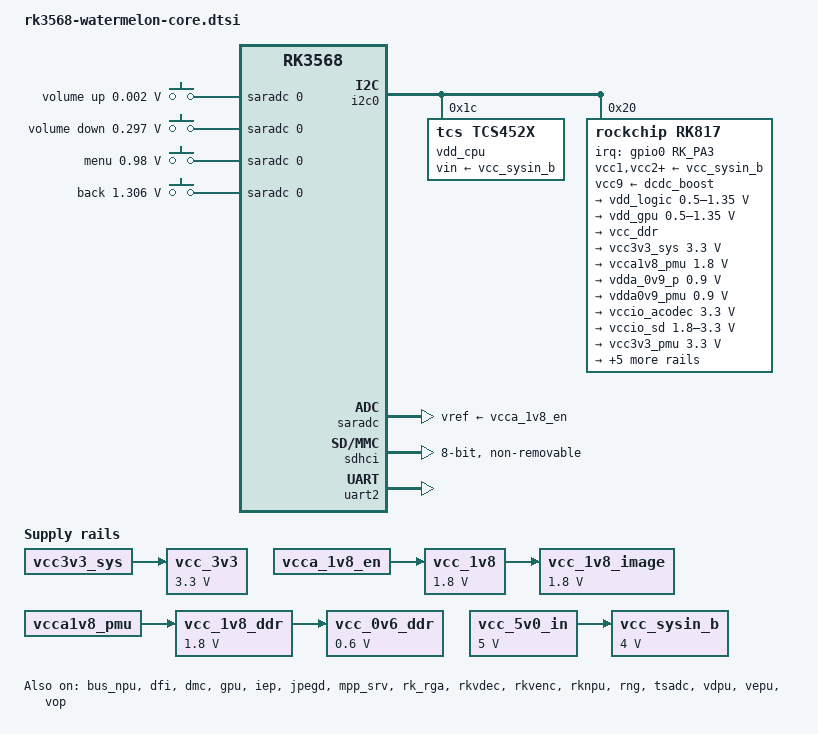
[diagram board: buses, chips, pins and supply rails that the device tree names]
// SPDX-License-Identifier: (GPL-2.0+ OR MIT)
// Copyright (c) 2023 unifreq <https://github.com/unifreq>

#include <dt-bindings/gpio/gpio.h>
#include <dt-bindings/pinctrl/rockchip.h>
#include <dt-bindings/pwm/pwm.h>
#include <dt-bindings/input/rk-input.h>
#include <dt-bindings/display/drm_mipi_dsi.h>
#include <dt-bindings/display/rockchip_vop.h>
#include <dt-bindings/sensor-dev.h>
#include "rk3568.dtsi"

/ {
	aliases {
		mmc0 = &sdmmc0;
		mmc1 = &sdhci;
	};

	chosen: chosen {
		bootargs = "earlycon=uart8250,mmio32,0xfe660000 console=ttyS2,1500000";
	};

	fiq_debugger: fiq-debugger {
		compatible = "rockchip,fiq-debugger";
		rockchip,serial-id = <2>;
		rockchip,wake-irq = <0>;
		/* If enable uart uses irq instead of fiq */
		rockchip,irq-mode-enable = <1>;
		rockchip,baudrate = <1500000>;  /* Only 115200 and 1500000 */
		interrupts = <GIC_SPI 252 IRQ_TYPE_LEVEL_LOW>;
		pinctrl-names = "default";
		pinctrl-0 = <&uart2m0_xfer>;
		status = "disabled";
	};

	debug: debug@fd904000 {
		compatible = "rockchip,debug";
		reg = <0x0 0xfd904000 0x0 0x1000>,
			<0x0 0xfd905000 0x0 0x1000>,
			<0x0 0xfd906000 0x0 0x1000>,
			<0x0 0xfd907000 0x0 0x1000>;
	};

	cspmu: cspmu@fd90c000 {
		compatible = "rockchip,cspmu";
		reg = <0x0 0xfd90c000 0x0 0x1000>,
			<0x0 0xfd90d000 0x0 0x1000>,
			<0x0 0xfd90e000 0x0 0x1000>,
			<0x0 0xfd90f000 0x0 0x1000>;
	};

	reserved_memory: reserved-memory {
		#address-cells = <2>;
		#size-cells = <2>;
		ranges;

		cma: cma {
			compatible = "shared-dma-pool";
			reusable;
			size = <0x0 0x10000000>;
			linux,cma-default;
		};
		
		drm_logo: drm-logo@00000000 {
			compatible = "rockchip,drm-logo";
			reg = <0x0 0x0 0x0 0x0>;
		};

		drm_cubic_lut: drm-cubic-lut@00000000 {
			compatible = "rockchip,drm-cubic-lut";
			reg = <0x0 0x0 0x0 0x0>;
		};

		ramoops: ramoops@110000 {
			compatible = "ramoops";
			reg = <0x0 0x110000 0x0 0xf0000>;
			record-size = <0x20000>;
			console-size = <0x80000>;
			ftrace-size = <0x00000>;
			pmsg-size = <0x50000>;
		};

		rknpu_reserved: rknpu {
			compatible = "shared-dma-pool";
			inactive;
			reusable;
			size = <0x0 0x10000000>;
			alignment = <0x0 0x1000>;
		};
	};

	adc_keys: adc-keys {
		compatible = "adc-keys";
		io-channels = <&saradc 0>;
		io-channel-names = "buttons";
		keyup-threshold-microvolt = <1800000>;
		poll-interval = <100>;

		vol-up-key {
			label = "volume up";
			linux,code = <KEY_VOLUMEUP>;
			press-threshold-microvolt = <1750>;
		};

		vol-down-key {
			label = "volume down";
			linux,code = <KEY_VOLUMEDOWN>;
			press-threshold-microvolt = <297500>;
		};

		menu-key {
			label = "menu";
			linux,code = <KEY_MENU>;
			press-threshold-microvolt = <980000>;
		};

		back-key {
			label = "back";
			linux,code = <KEY_BACK>;
			press-threshold-microvolt = <1305500>;
		};
	};

	vcc_5v0_in: vcc-5v0-in {
		compatible = "regulator-fixed";
		regulator-min-microvolt = <5000000>;
		regulator-max-microvolt = <5000000>;
		regulator-always-on;
		regulator-boot-on;
		regulator-name = "vcc_5v0_in";
	};

	vcc_sysin_b: vcc-sysin-b {
		compatible = "regulator-fixed";
		regulator-name = "vcc_sysin_b";
		regulator-always-on;
		regulator-boot-on;
		regulator-min-microvolt = <4000000>;
		regulator-max-microvolt = <4000000>;
		vin-supply = <&vcc_5v0_in>;
	};

	/* Enabled when PMIC_SLEEP_H down */
	vcc_3v3: vcc-3v3 {
		compatible = "regulator-fixed";
		regulator-name = "vcc_3v3";
		regulator-always-on;
		regulator-boot-on;
		regulator-min-microvolt = <3300000>;
		regulator-max-microvolt = <3300000>;
		vin-supply = <&vcc3v3_sys>;
	};

	/* Enabled when vcca_1v8_en up */
	vcc_1v8: vcc-1v8 {
		compatible = "regulator-fixed";
		regulator-name = "vcc_1v8";
		regulator-always-on;
		regulator-boot-on;
		regulator-min-microvolt = <1800000>;
		regulator-max-microvolt = <1800000>;
		vin-supply = <&vcca_1v8_en>;
	};

	vcc_1v8_image: vcc-1v8-image {
		compatible = "regulator-fixed";
		regulator-name = "vcc_1v8_image";
		regulator-always-on;
		regulator-boot-on;
		regulator-min-microvolt = <1800000>;
		regulator-max-microvolt = <1800000>;
		vin-supply = <&vcc_1v8>;
	};

	vcc_1v8_ddr: vcc-1v8-ddr {
		compatible = "regulator-fixed";
		regulator-name = "vcc_1v8_ddr";
		regulator-always-on;
		regulator-boot-on;
		regulator-min-microvolt = <1800000>;
		regulator-max-microvolt = <1800000>;
		vin-supply = <&vcca1v8_pmu>;
	};

	vcc_0v6_ddr: vcc_0v6_ddr {
		compatible = "regulator-fixed";
		regulator-name = "vcc_0v6_ddr";
		regulator-always-on;
		regulator-boot-on;
		regulator-min-microvolt = <600000>;
		regulator-max-microvolt = <600000>;
		vin-supply = <&vcc_1v8_ddr>;
	};
};

&bus_npu {
	bus-supply = <&vdd_logic>;
	pvtm-supply = <&vdd_cpu>;
	status = "okay";
};

&cpu0 {
	cpu-supply = <&vdd_cpu>;
};

&dfi {
	status = "okay";
};

&dmc {
	center-supply = <&vdd_logic>;
	status = "okay";
};

&gpu {
	mali-supply = <&vdd_gpu>;
	status = "okay";
};

&i2c0 {
	status = "okay";

	vdd_cpu: tcs4525@1c {
		compatible = "tcs,tcs452x";
		reg = <0x1c>;
		vin-supply = <&vcc_sysin_b>;
		regulator-compatible = "fan53555-reg";
		regulator-name = "vdd_cpu";
		regulator-min-microvolt = <712500>;
		regulator-max-microvolt = <1390000>;
		regulator-init-microvolt = <900000>;
		regulator-initial-mode = <1>;
		regulator-ramp-delay = <2300>;
		fcs,suspend-voltage-selector = <1>;
		regulator-boot-on;
		regulator-always-on;

		regulator-state-mem {
			regulator-off-in-suspend;
		};
	};

	rk817: pmic@20 {
		compatible = "rockchip,rk817";
		reg = <0x20>;
		interrupt-parent = <&gpio0>;
		interrupts = <RK_PA3 IRQ_TYPE_LEVEL_LOW>;

		pinctrl-names = "default", "pmic-sleep",
				"pmic-power-off", "pmic-reset";
		pinctrl-0 = <&pmic_int>;
		pinctrl-1 = <&soc_slppin_slp>, <&rk817_slppin_slp>;
		pinctrl-2 = <&soc_slppin_gpio>, <&rk817_slppin_pwrdn>;
		pinctrl-3 = <&soc_slppin_gpio>, <&rk817_slppin_rst>;
		rockchip,system-power-controller;
		wakeup-source;
		#clock-cells = <1>;
		clock-output-names = "rk808-clkout1", "rk808-clkout2";
		//fb-inner-reg-idxs = <2>;
		/* 1: rst regs (default in codes), 0: rst the pmic */
		pmic-reset-func = <0>;

		vcc1-supply = <&vcc_sysin_b>;
		vcc2-supply = <&vcc_sysin_b>;
		vcc3-supply = <&vcc_sysin_b>;
		vcc4-supply = <&vcc_sysin_b>;
		vcc5-supply = <&vcc_sysin_b>;
		vcc6-supply = <&vcc_sysin_b>;
		vcc7-supply = <&vcc_sysin_b>;
		vcc8-supply = <&vcc_sysin_b>;
		vcc9-supply = <&dcdc_boost>;

		pwrkey {
			status = "okay";
		};

		pinctrl_rk8xx: pinctrl_rk8xx {
			gpio-controller;
			#gpio-cells = <2>;

			rk817_slppin_null: rk817_slppin_null {
				pins = "gpio_slp";
				function = "pin_fun0";
			};

			rk817_slppin_slp: rk817_slppin_slp {
				pins = "gpio_slp";
				function = "pin_fun1";
			};

			rk817_slppin_pwrdn: rk817_slppin_pwrdn {
				pins = "gpio_slp";
				function = "pin_fun2";
			};

			rk817_slppin_rst: rk817_slppin_rst {
				pins = "gpio_slp";
				function = "pin_fun3";
			};
		};

		regulators {
			vdd_logic: DCDC_REG1 {
				regulator-always-on;
				regulator-boot-on;
				regulator-min-microvolt = <500000>;
				regulator-max-microvolt = <1350000>;
				regulator-init-microvolt = <900000>;
				regulator-ramp-delay = <6001>;
				regulator-initial-mode = <0x2>;
				regulator-name = "vdd_logic";
				regulator-state-mem {
					regulator-off-in-suspend;
				};
			};

			vdd_gpu: DCDC_REG2 {
				regulator-always-on;
				regulator-boot-on;
				regulator-min-microvolt = <500000>;
				regulator-max-microvolt = <1350000>;
				regulator-init-microvolt = <900000>;
				regulator-ramp-delay = <6001>;
				regulator-initial-mode = <0x2>;
				regulator-name = "vdd_gpu";
				regulator-state-mem {
					regulator-off-in-suspend;
				};
			};

			vcc_ddr: DCDC_REG3 {
				regulator-always-on;
				regulator-boot-on;
				regulator-initial-mode = <0x2>;
				regulator-name = "vcc_ddr";
				regulator-state-mem {
					regulator-on-in-suspend;
				};
			};

			vcc3v3_sys: DCDC_REG4 {
				regulator-always-on;
				regulator-boot-on;
				regulator-min-microvolt = <3300000>;
				regulator-max-microvolt = <3300000>;
				regulator-initial-mode = <0x2>;
				regulator-name = "vcc3v3_sys";
				regulator-state-mem {
					regulator-off-in-suspend;
				};
			};

			vcca1v8_pmu: LDO_REG1 {
				regulator-always-on;
				regulator-boot-on;
				regulator-min-microvolt = <1800000>;
				regulator-max-microvolt = <1800000>;
				regulator-name = "vcca1v8_pmu";
				regulator-state-mem {
					regulator-on-in-suspend;
					regulator-suspend-microvolt = <1800000>;
				};
			};

			vdda_0v9_p: LDO_REG2 {
				regulator-always-on;
				regulator-boot-on;
				regulator-min-microvolt = <900000>;
				regulator-max-microvolt = <900000>;
				regulator-name = "vdda_0v9_p";

				regulator-state-mem {
					regulator-off-in-suspend;
				};
			};

			vdda0v9_pmu: LDO_REG3 {
				regulator-always-on;
				regulator-boot-on;
				regulator-min-microvolt = <900000>;
				regulator-max-microvolt = <900000>;
				regulator-name = "vdda0v9_pmu";

				regulator-state-mem {
					regulator-on-in-suspend;
					regulator-suspend-microvolt = <900000>;
				};
			};

			vccio_acodec: LDO_REG4 {
				regulator-always-on;
				regulator-min-microvolt = <3300000>;
				regulator-max-microvolt = <3300000>;
				regulator-name = "vccio_acodec";

				regulator-state-mem {
					regulator-off-in-suspend;
				};
			};

			vccio_sd: LDO_REG5 {
				regulator-min-microvolt = <1800000>;
				regulator-max-microvolt = <3300000>;
				regulator-name = "vccio_sd";

				regulator-state-mem {
					regulator-off-in-suspend;
				};
			};

			vcc3v3_pmu: LDO_REG6 {
				regulator-always-on;
				regulator-boot-on;
				regulator-min-microvolt = <3300000>;
				regulator-max-microvolt = <3300000>;
				regulator-name = "vcc3v3_pmu";

				regulator-state-mem {
					regulator-on-in-suspend;
					regulator-suspend-microvolt = <3300000>;
				};
			};

			vcca_1v8_en: LDO_REG7 {
				regulator-always-on;
				regulator-boot-on;
				regulator-min-microvolt = <1800000>;
				regulator-max-microvolt = <1800000>;
				regulator-name = "vcca_1v8_en";

				regulator-state-mem {
					regulator-off-in-suspend;
				};
			};

			vdda0v9_image_p: LDO_REG8 {
				regulator-boot-on;
				regulator-always-on;
				regulator-min-microvolt = <900000>;
				regulator-max-microvolt = <900000>;
				regulator-name = "vdda0v9_image_p";
				regulator-state-mem {
					regulator-off-in-suspend;
				};
			};

			vcca1v8_image_p: LDO_REG9 {
				regulator-always-on;
				regulator-boot-on;
				regulator-min-microvolt = <1800000>;
				regulator-max-microvolt = <1800000>;
				regulator-name = "vcca1v8_image_p";
				regulator-state-mem {
					regulator-off-in-suspend;
				};
			};

			dcdc_boost: BOOST {
				regulator-always-on;
				regulator-boot-on;
				regulator-min-microvolt = <4700000>;
				regulator-max-microvolt = <5400000>;
				regulator-name = "boost";
				regulator-state-mem {
					regulator-off-in-suspend;
				};
			};

			otg_switch: OTG_SWITCH {
				regulator-name = "otg_switch";
				regulator-state-mem {
					regulator-off-in-suspend;
				};
			};
		};

		rk817_battery: battery {
			compatible = "rk817,battery";
			ocv_table = <3400 3671 3686 3712 3738 3756 3773
				     3787 3802 3819 3840 3868 3916 3959
				     3998 4041 4087 4138 4191 4247 4313>;
			design_capacity = <5780>;
			design_qmax = <6358>;
			bat_res = <100>;
			sleep_enter_current = <150>;
			sleep_exit_current = <180>;
			sleep_filter_current = <100>;
			power_off_thresd = <3400>;
			zero_algorithm_vol = <3950>;
			max_soc_offset = <60>;
			monitor_sec = <5>;
			sample_res = <10>;
			virtual_power = <0>;
			status = "disabled";
		};

		rk817_charger: charger {
			compatible = "rk817,charger";
			min_input_voltage = <4500>;
			max_input_current = <1500>;
			max_chrg_current = <2000>;
			max_chrg_voltage = <4350>;
			chrg_term_mode = <0>;
			chrg_finish_cur = <300>;
			virtual_power = <0>;
			dc_det_adc = <0>;
			extcon = <&usb2phy0>;
			gate_function_disable = <1>;
			status = "disabled";
		};

		rk817_codec: codec {
			#sound-dai-cells = <1>;
			compatible = "rockchip,rk809-codec", "rockchip,rk817-codec";
			clocks = <&cru I2S1_MCLKOUT>;
			clock-names = "mclk";
			assigned-clocks = <&cru I2S1_MCLKOUT>, <&cru I2S1_MCLK_TX_IOE>;
			assigned-clock-rates = <12288000>;
			assigned-clock-parents = <&cru I2S1_MCLKOUT_TX>, <&cru I2S1_MCLKOUT_TX>;
			pinctrl-names = "default";
			pinctrl-0 = <&i2s1m0_mclk>;
			hp-volume = <20>;
			spk-volume = <3>;
			mic-in-differential;
			status = "okay";
		};
	};
};

&iep {
	status = "okay";
};

&iep_mmu {
	status = "okay";
};

&jpegd {
	status = "okay";
};

&jpegd_mmu {
	status = "okay";
};

&mpp_srv {
	status = "okay";
};

&pinctrl {
	pmic {
		pmic_int: pmic_int {
			rockchip,pins = <0 RK_PA3 RK_FUNC_GPIO &pcfg_pull_up>;
		};

		soc_slppin_gpio: soc_slppin_gpio {
			rockchip,pins = <0 RK_PA2 RK_FUNC_GPIO &pcfg_output_low>;
		};

		soc_slppin_rst: soc_slppin_rst {
			rockchip,pins = <0 RK_PA2 2 &pcfg_pull_none>;
		};

		soc_slppin_slp: soc_slppin_slp {
			rockchip,pins = <0 RK_PA2 1 &pcfg_pull_none>;
		};
	};
};

&pmu_io_domains {
	//fixed, pmuio0-supply = <&vcca1v8_pmu>;
	pmuio1-supply = <&vcc3v3_pmu>;
	pmuio2-supply = <&vcc3v3_pmu>;
	vccio1-supply = <&vccio_acodec>;
	//configure by hardware FLASH_VOL_SEL pin, vccio2-supply = <&vcca_1v8>;
	vccio3-supply = <&vccio_sd>;
	vccio4-supply = <&vcca1v8_pmu>;

	/* 
	 * v1 & v2 uses vcc_1v8
	 * v3 uses vcc_3v3
	 */
	vccio5-supply = <&vcc_1v8>;

	vccio6-supply = <&vcca1v8_pmu>;
	vccio7-supply = <&vcc_3v3>;
	status = "okay";
};

&rk_rga {
	status = "okay";
};

&rkvdec {
	status = "okay";
};

&rkvdec_mmu {
	status = "okay";
};

&rkvenc {
	venc-supply = <&vdd_logic>;
	status = "okay";
};

&rkvenc_mmu {
	status = "okay";
};

&rknpu {
	memory-region = <&rknpu_reserved>;	
	rknpu-supply = <&vdd_gpu>;
	status = "okay";
};

&rknpu_mmu {
	status = "okay";
};

&rng {
	status = "okay";
};

&rockchip_suspend {
	status = "okay";
	rockchip,sleep-mode-config = <
		(0
		| RKPM_SLP_CENTER_OFF
		| RKPM_SLP_HW_PLLS_OFF
		| RKPM_SLP_PMUALIVE_32K
		| RKPM_SLP_PMIC_LP
		| RKPM_SLP_32K_PVTM
		)
	>;
	rockchip,wakeup-config = <
		(0
		| RKPM_PWM0_WKUP_EN
		| RKPM_CPU0_WKUP_EN
		)
	>;
};

&saradc {
	status = "okay";
	vref-supply = <&vcca_1v8_en>;
};

&sdhci {
	bus-width = <8>;
	supports-emmc;
	no-sdio;
	no-sd;
	non-removable;
	max-frequency = <200000000>;
	full-pwr-cycle-in-suspend;
	status = "okay";
	//vmmc-supply = <&vcc_3v3>;
	//vqmmc-supply = <&vcc_1v8>;
};

&tsadc {
	status = "okay";
};

&uart2 {
	status = "okay";
};

&vdpu {
	status = "okay";
};

&vdpu_mmu {
	status = "okay";
};

&vepu {
	status = "okay";
};

&vepu_mmu {
	status = "okay";
};

&vop {
	status = "okay";
	assigned-clocks = <&cru DCLK_VOP0>, <&cru DCLK_VOP1>, <&cru DCLK_VOP2>;
	assigned-clock-parents = <&pmucru PLL_HPLL>, <&cru PLL_VPLL>, <&cru PLL_GPLL>;
};

&vop_mmu {
	status = "okay";
};
